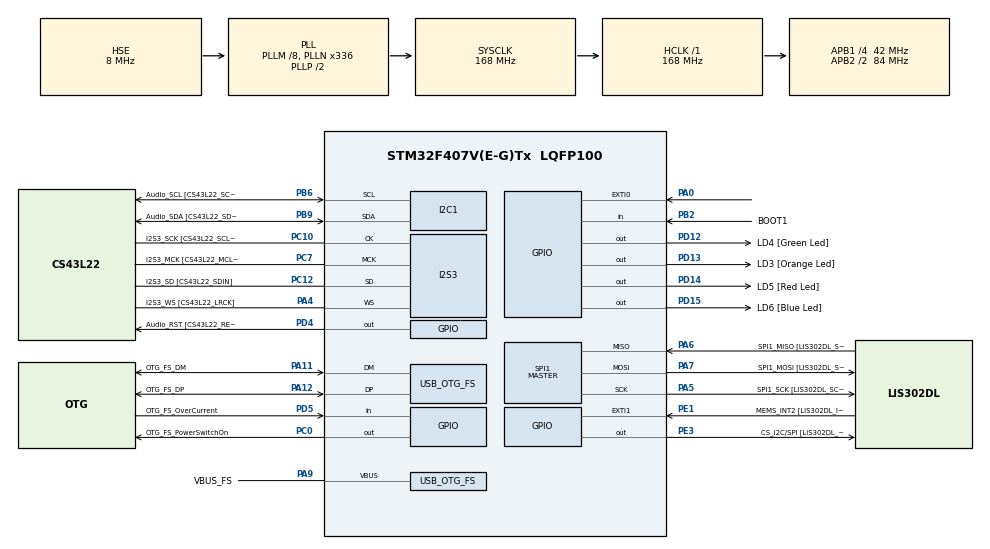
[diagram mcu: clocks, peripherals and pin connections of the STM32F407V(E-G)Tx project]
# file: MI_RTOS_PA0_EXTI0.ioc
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FREERTOS.Tasks01=defaultTask,24,128,StartDefaultTask,Default,NULL,Dynamic,NULL,NULL
FREERTOS.configUSE_NEWLIB_REENTRANT=1
I2S3.AudioFreq-Half_Duplex_Master=I2S_AUDIOFREQ_96K
I2S3.ErrorAudioFreq=-2.34 %
I2S3.ErrorAudioFreq-Half_Duplex_Master=0.8 %
I2S3.FullDuplexMode=I2S_FULLDUPLEXMODE_DISABLE
I2S3.Instance=SPI$Index
I2S3.RealAudioFreq=93.75 KHz
I2S3.RealAudioFreq-Half_Duplex_Master=96.774 KHz
I2S3.VirtualMode=I2S_MODE_MASTER
Mcu.Family=STM32F4
Mcu.Name=STM32F407V(E-G)Tx
Mcu.Package=LQFP100
NVIC.EXTI0_IRQn=true\:5\:0\:false\:false\:true\:true\:true\:true\:true
NVIC.OTG_FS_IRQn=true\:5\:0\:false\:false\:true\:true\:true\:true\:true
NVIC.PriorityGroup=NVIC_PRIORITYGROUP_4
NVIC.TIM6_DAC_IRQn=true\:15\:0\:false\:false\:true\:false\:false\:true\:true
NVIC.TimeBase=TIM6_DAC_IRQn
NVIC.TimeBaseIP=TIM6
PA0-WKUP.Signal=GPXTI0
PA10.GPIO_Label=OTG_FS_ID
PA10.GPIO_Mode=GPIO_MODE_AF_PP
PA10.GPIO_PuPd=GPIO_NOPULL
PA10.GPIO_Speed=GPIO_SPEED_FREQ_LOW
PA10.Signal=USB_OTG_FS_ID
PA11.GPIO_Label=OTG_FS_DM
PA11.GPIO_Mode=GPIO_MODE_AF_PP
PA11.GPIO_PuPd=GPIO_NOPULL
PA11.GPIO_Speed=GPIO_SPEED_FREQ_LOW
PA11.Mode=Host_Only
PA11.Signal=USB_OTG_FS_DM
PA12.GPIO_Label=OTG_FS_DP
PA12.GPIO_Mode=GPIO_MODE_AF_PP
PA12.GPIO_PuPd=GPIO_NOPULL
PA12.GPIO_Speed=GPIO_SPEED_FREQ_LOW
PA12.Mode=Host_Only
PA12.Signal=USB_OTG_FS_DP
PA13.GPIO_Label=SWDIO
PA13.Mode=Trace_Asynchronous_SW
PA13.Signal=SYS_JTMS-SWDIO
PA14.GPIO_Label=SWCLK
PA14.Mode=Trace_Asynchronous_SW
PA14.Signal=SYS_JTCK-SWCLK
PA4.GPIO_Label=I2S3_WS [CS43L22_LRCK]
PA4.GPIO_Mode=GPIO_MODE_AF_PP
PA4.GPIO_PuPd=GPIO_NOPULL
PA4.GPIO_Speed=GPIO_SPEED_FREQ_LOW
PA4.Mode=Half_Duplex_Master
PA4.Signal=I2S3_WS
PA5.GPIO_Label=SPI1_SCK [LIS302DL_SCL/SPC]
PA5.GPIO_Mode=GPIO_MODE_AF_PP
PA5.GPIO_PuPd=GPIO_NOPULL
PA5.GPIO_Speed=GPIO_SPEED_FREQ_LOW
PA5.Mode=Full_Duplex_Master
PA5.Signal=SPI1_SCK
PA6.GPIO_Label=SPI1_MISO [LIS302DL_SDO]
PA6.GPIO_Mode=GPIO_MODE_AF_PP
PA6.GPIO_PuPd=GPIO_NOPULL
PA6.GPIO_Speed=GPIO_SPEED_FREQ_LOW
PA6.Mode=Full_Duplex_Master
PA6.Signal=SPI1_MISO
PA7.GPIO_Label=SPI1_MOSI [LIS302DL_SDA/SDI/SDO]
PA7.GPIO_Mode=GPIO_MODE_AF_PP
PA7.GPIO_PuPd=GPIO_NOPULL
PA7.GPIO_Speed=GPIO_SPEED_FREQ_LOW
PA7.Mode=Full_Duplex_Master
PA7.Signal=SPI1_MOSI
PA9.GPIO_Label=VBUS_FS
PA9.GPIO_Mode=GPIO_MODE_INPUT
PA9.GPIO_PuPd=GPIO_NOPULL
PA9.Mode=Activate_VBUS
PA9.Signal=USB_OTG_FS_VBUS
PB10.GPIO_Label=CLK_IN [MP45DT02_CLK]
PB10.GPIO_Mode=GPIO_MODE_AF_PP
PB10.GPIO_PuPd=GPIO_NOPULL
PB10.GPIO_Speed=GPIO_SPEED_FREQ_LOW
PB10.Signal=I2S2_CK
PB2.GPIO_Label=BOOT1
PB2.GPIO_Mode=GPIO_MODE_INPUT
PB2.GPIO_PuPd=GPIO_NOPULL
PB2.Signal=GPIO_Input
PB3.GPIO_Label=SWO
PB3.Mode=Trace_Asynchronous_SW
PB3.Signal=SYS_JTDO-SWO
PB6.GPIO_Label=Audio_SCL [CS43L22_SCL]
PB6.GPIO_Mode=GPIO_MODE_AF_OD
PB6.GPIO_Pu=GPIO_PULLUP
PB6.GPIO_PuPd=GPIO_NOPULL
PB6.GPIO_Speed=GPIO_SPEED_FREQ_LOW
PB6.Mode=I2C
PB6.Signal=I2C1_SCL
PB9.GPIO_Label=Audio_SDA [CS43L22_SDA]
PB9.GPIO_Mode=GPIO_MODE_AF_OD
PB9.GPIO_Pu=GPIO_PULLUP
PB9.GPIO_PuPd=GPIO_NOPULL
PB9.GPIO_Speed=GPIO_SPEED_FREQ_LOW
PB9.Mode=I2C
PB9.Signal=I2C1_SDA
PC0.GPIO_Label=OTG_FS_PowerSwitchOn
PC0.GPIO_PuPd=GPIO_NOPULL
PC0.GPIO_Speed=GPIO_SPEED_FREQ_LOW
PC0.PinState=GPIO_PIN_SET
PC0.Signal=GPIO_Output
PC10.GPIO_Label=I2S3_SCK [CS43L22_SCLK]
PC10.GPIO_Mode=GPIO_MODE_AF_PP
PC10.GPIO_PuPd=GPIO_NOPULL
PC10.GPIO_Speed=GPIO_SPEED_FREQ_LOW
PC10.Mode=Half_Duplex_Master
PC10.Signal=I2S3_CK
PC12.GPIO_Label=I2S3_SD [CS43L22_SDIN]
PC12.GPIO_Mode=GPIO_MODE_AF_PP
PC12.GPIO_PuPd=GPIO_NOPULL
PC12.GPIO_Speed=GPIO_SPEED_FREQ_LOW
PC12.Mode=Half_Duplex_Master
PC12.Signal=I2S3_SD
PC14-OSC32_IN.GPIO_Label=PC14-OSC32_IN
PC14-OSC32_IN.Mode=LSE-External-Oscillator
PC14-OSC32_IN.Signal=RCC_OSC32_IN
PC15-OSC32_OUT.GPIO_Label=PC15-OSC32_OUT
PC15-OSC32_OUT.Mode=LSE-External-Oscillator
PC15-OSC32_OUT.Signal=RCC_OSC32_OUT
PC3.GPIO_Label=PDM_OUT [MP45DT02_DOUT]
PC3.GPIO_Mode=GPIO_MODE_AF_PP
PC3.GPIO_PuPd=GPIO_NOPULL
PC3.GPIO_Speed=GPIO_SPEED_FREQ_LOW
PC3.Signal=I2S2_SD
PC7.GPIO_Label=I2S3_MCK [CS43L22_MCLK]
PC7.GPIO_Mode=GPIO_MODE_AF_PP
PC7.GPIO_PuPd=GPIO_NOPULL
PC7.GPIO_Speed=GPIO_SPEED_FREQ_LOW
PC7.Mode=Master_Clock_Activated
PC7.Signal=I2S3_MCK
PD12.GPIO_Label=LD4 [Green Led]
PD12.GPIO_PuPd=GPIO_NOPULL
PD12.GPIO_Speed=GPIO_SPEED_FREQ_LOW
PD12.Signal=GPIO_Output
PD13.GPIO_Label=LD3 [Orange Led]
PD13.GPIO_PuPd=GPIO_NOPULL
PD13.GPIO_Speed=GPIO_SPEED_FREQ_LOW
PD13.Signal=GPIO_Output
PD14.GPIO_Label=LD5 [Red Led]
PD14.GPIO_PuPd=GPIO_NOPULL
PD14.GPIO_Speed=GPIO_SPEED_FREQ_LOW
PD14.Signal=GPIO_Output
PD15.GPIO_Label=LD6 [Blue Led]
PD15.GPIO_PuPd=GPIO_NOPULL
PD15.GPIO_Speed=GPIO_SPEED_FREQ_LOW
PD15.Signal=GPIO_Output
PD4.GPIO_Label=Audio_RST [CS43L22_RESET]
PD4.GPIO_PuPd=GPIO_NOPULL
PD4.GPIO_Speed=GPIO_SPEED_FREQ_LOW
PD4.Signal=GPIO_Output
PD5.GPIO_Label=OTG_FS_OverCurrent
PD5.GPIO_Mode=GPIO_MODE_INPUT
PD5.GPIO_PuPd=GPIO_NOPULL
PD5.Signal=GPIO_Input
PE1.GPIO_Label=MEMS_INT2 [LIS302DL_INT2]
PE1.GPIO_ModeDefaultEXTI=GPIO_MODE_EVT_RISING
PE1.GPIO_PuPd=GPIO_NOPULL
PE1.Signal=GPXTI1
PE3.GPIO_Label=CS_I2C/SPI [LIS302DL_CS_I2C/SPI]
PE3.GPIO_PuPd=GPIO_NOPULL
PE3.GPIO_Speed=GPIO_SPEED_FREQ_LOW
PE3.Signal=GPIO_Output
PH0-OSC_IN.GPIO_Label=PH0-OSC_IN
PH0-OSC_IN.Mode=HSE-External-Oscillator
PH0-OSC_IN.Signal=RCC_OSC_IN
PH1-OSC_OUT.GPIO_Label=PH1-OSC_OUT
PH1-OSC_OUT.Mode=HSE-External-Oscillator
PH1-OSC_OUT.Signal=RCC_OSC_OUT
ProjectManager.HeapSize=0x200
ProjectManager.StackSize=0x400
ProjectManager.TargetToolchain=STM32CubeIDE
RCC.48MHZClocksFreq_Value=48000000
RCC.AHBFreq_Value=168000000
RCC.APB1CLKDivider=RCC_HCLK_DIV4
RCC.APB1Freq_Value=42000000
RCC.APB1TimFreq_Value=84000000
RCC.APB2CLKDivider=RCC_HCLK_DIV2
RCC.APB2Freq_Value=84000000
RCC.APB2TimFreq_Value=168000000
RCC.CortexFreq_Value=168000000
RCC.HCLKFreq_Value=168000000
RCC.HSE_VALUE=8000000
RCC.HSI_VALUE=16000000
RCC.PLLM=8
RCC.PLLN=336
RCC.PLLQ=7
RCC.SYSCLKFreq_VALUE=168000000
RCC.SYSCLKSource=RCC_SYSCLKSOURCE_PLLCLK
RCC.VCOOutputFreq_Value=336000000
SPI1.BaudRatePrescaler-Full_Duplex_Master=SPI_BAUDRATEPRESCALER_2
SPI1.CalculateBaudRate-Full_Duplex_Master=42.0 MBits/s
SPI1.Direction=SPI_DIRECTION_2LINES
SPI1.Mode=SPI_MODE_MASTER
SPI1.Mode-Full_Duplex_Master=SPI_MODE_MASTER
SPI1.VirtualType=VM_MASTER
USB_HOST.BSP.number=1
USB_HOST.USBH_HandleTypeDef-CDC_FS=hUsbHostFS
USB_HOST.VirtualModeFS=Cdc
USB_HOST0.BSP.STBoard=false
USB_HOST0.BSP.api=Unknown
USB_HOST0.BSP.i2caddr=0
USB_HOST0.BSP.i2creg=0
USB_HOST0.BSP.instance=PC0
USB_HOST0.BSP.ip=GPIO
USB_HOST0.BSP.mode=Output
USB_HOST0.BSP.name=Drive_VBUS_FS
USB_HOST0.BSP.solution=PC0
USB_OTG_FS.VirtualMode=Host_Only
USB_OTG_FS.phy_itface=HCD_PHY_EMBEDDED
VP_FREERTOS_VS_CMSIS_V2.Mode=CMSIS_V2
VP_SYS_VS_tim6.Mode=TIM6
VP_USB_HOST_VS_USB_HOST_CDC_FS.Mode=CDC_FS
board=STM32F407G-DISC1

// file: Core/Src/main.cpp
/* USER CODE BEGIN Header */
/**
  ******************************************************************************
  * @file           : main.c
  * @brief          : Main program body
  ******************************************************************************
  * @attention
  *
  * Copyright (c) 2026 STMicroelectronics.
  * All rights reserved.
  *
  * This software is licensed under terms that can be found in the LICENSE file
  * in the root directory of this software component.
  * If no LICENSE file comes with this software, it is provided AS-IS.
  *
  ******************************************************************************
  */
/* USER CODE END Header */
#include "main.h"
#include "cmsis_os.h"
#include "usb_host.h"

 I2C_HandleTypeDef hi2c1;

I2S_HandleTypeDef hi2s3;

SPI_HandleTypeDef hspi1;

/* Definitions for defaultTask */
osThreadId_t defaultTaskHandle;
const osThreadAttr_t defaultTask_attributes = {
  .name = "defaultTask",
  .stack_size = 128 * 4,
  .priority = (osPriority_t) osPriorityNormal,
};

void SystemClock_Config(void);
static void MX_GPIO_Init(void);
static void MX_I2C1_Init(void);
static void MX_I2S3_Init(void);
static void MX_SPI1_Init(void);
void StartDefaultTask(void *argument);

/* USER CODE BEGIN PFP */
static void led_green_handler(void* parameters);
static void button_task(void* parameters);

/* USER CODE END PFP */

/* USER CODE BEGIN 0 */
//Task Handlers
TaskHandle_t task1_handle= NULL;
TaskHandle_t task2_handle= NULL;
TaskHandle_t task3_handle= NULL;
TaskHandle_t button_task_handle=NULL;
BaseType_t status;
/* USER CODE END 0 */

int main(void)
{

  /* MCU Configuration--------------------------------------------------------*/

  /* Reset of all peripherals, Initializes the Flash interface and the Systick. */
  HAL_Init();

  /* Configure the system clock */
  SystemClock_Config();

  /* Initialize all configured peripherals */
  MX_GPIO_Init();
  MX_I2C1_Init();
  MX_I2S3_Init();
  MX_SPI1_Init();
  /* USER CODE BEGIN 2 */
  status = xTaskCreate(led_green_handler, "LED_green_task", 200, NULL, 2, &task1_handle);
  configASSERT(status == pdPASS);
  status = xTaskCreate(button_task, "BUTTON", 200, NULL, 3, &button_task_handle);
  configASSERT(status == pdPASS);

  /* USER CODE END 2 */

  /* Init scheduler */
  osKernelInitialize();

  /* Create the thread(s) */
  /* creation of defaultTask */
  defaultTaskHandle = osThreadNew(StartDefaultTask, NULL, &defaultTask_attributes);

  /* Start scheduler */
  osKernelStart();

  /* We should never get here as control is now taken by the scheduler */
  /* Infinite loop */
  while (1)
  {

  }
}

void SystemClock_Config(void)
{
  RCC_OscInitTypeDef RCC_OscInitStruct = {0};
  RCC_ClkInitTypeDef RCC_ClkInitStruct = {0};

  /** Configure the main internal regulator output voltage
  */
  __HAL_RCC_PWR_CLK_ENABLE();
  __HAL_PWR_VOLTAGESCALING_CONFIG(PWR_REGULATOR_VOLTAGE_SCALE1);

  /** Initializes the RCC Oscillators according to the specified parameters
  * in the RCC_OscInitTypeDef structure.
  */
  RCC_OscInitStruct.OscillatorType = RCC_OSCILLATORTYPE_HSE;
  RCC_OscInitStruct.HSEState = RCC_HSE_ON;
  RCC_OscInitStruct.PLL.PLLState = RCC_PLL_ON;
  RCC_OscInitStruct.PLL.PLLSource = RCC_PLLSOURCE_HSE;
  RCC_OscInitStruct.PLL.PLLM = 8;
  RCC_OscInitStruct.PLL.PLLN = 336;
  RCC_OscInitStruct.PLL.PLLP = RCC_PLLP_DIV2;
  RCC_OscInitStruct.PLL.PLLQ = 7;
  if (HAL_RCC_OscConfig(&RCC_OscInitStruct) != HAL_OK)
  {
    Error_Handler();
  }

  /** Initializes the CPU, AHB and APB buses clocks
  */
  RCC_ClkInitStruct.ClockType = RCC_CLOCKTYPE_HCLK|RCC_CLOCKTYPE_SYSCLK
                              |RCC_CLOCKTYPE_PCLK1|RCC_CLOCKTYPE_PCLK2;
  RCC_ClkInitStruct.SYSCLKSource = RCC_SYSCLKSOURCE_PLLCLK;
  RCC_ClkInitStruct.AHBCLKDivider = RCC_SYSCLK_DIV1;
  RCC_ClkInitStruct.APB1CLKDivider = RCC_HCLK_DIV4;
  RCC_ClkInitStruct.APB2CLKDivider = RCC_HCLK_DIV2;

  if (HAL_RCC_ClockConfig(&RCC_ClkInitStruct, FLASH_LATENCY_5) != HAL_OK)
  {
    Error_Handler();
  }
}

static void MX_I2C1_Init(void)
{

  hi2c1.Instance = I2C1;
  hi2c1.Init.ClockSpeed = 100000;
  hi2c1.Init.DutyCycle = I2C_DUTYCYCLE_2;
  hi2c1.Init.OwnAddress1 = 0;
  hi2c1.Init.AddressingMode = I2C_ADDRESSINGMODE_7BIT;
  hi2c1.Init.DualAddressMode = I2C_DUALADDRESS_DISABLE;
  hi2c1.Init.OwnAddress2 = 0;
  hi2c1.Init.GeneralCallMode = I2C_GENERALCALL_DISABLE;
  hi2c1.Init.NoStretchMode = I2C_NOSTRETCH_DISABLE;
  if (HAL_I2C_Init(&hi2c1) != HAL_OK)
  {
    Error_Handler();
  }

}

static void MX_I2S3_Init(void)
{

  hi2s3.Instance = SPI3;
  hi2s3.Init.Mode = I2S_MODE_MASTER_TX;
  hi2s3.Init.Standard = I2S_STANDARD_PHILIPS;
  hi2s3.Init.DataFormat = I2S_DATAFORMAT_16B;
  hi2s3.Init.MCLKOutput = I2S_MCLKOUTPUT_ENABLE;
  hi2s3.Init.AudioFreq = I2S_AUDIOFREQ_96K;
  hi2s3.Init.CPOL = I2S_CPOL_LOW;
  hi2s3.Init.ClockSource = I2S_CLOCK_PLL;
  hi2s3.Init.FullDuplexMode = I2S_FULLDUPLEXMODE_DISABLE;
  if (HAL_I2S_Init(&hi2s3) != HAL_OK)
  {
    Error_Handler();
  }

}

static void MX_SPI1_Init(void)
{

  /* SPI1 parameter configuration*/
  hspi1.Instance = SPI1;
  hspi1.Init.Mode = SPI_MODE_MASTER;
  hspi1.Init.Direction = SPI_DIRECTION_2LINES;
  hspi1.Init.DataSize = SPI_DATASIZE_8BIT;
  hspi1.Init.CLKPolarity = SPI_POLARITY_LOW;
  hspi1.Init.CLKPhase = SPI_PHASE_1EDGE;
  hspi1.Init.NSS = SPI_NSS_SOFT;
  hspi1.Init.BaudRatePrescaler = SPI_BAUDRATEPRESCALER_2;
  hspi1.Init.FirstBit = SPI_FIRSTBIT_MSB;
  hspi1.Init.TIMode = SPI_TIMODE_DISABLE;
  hspi1.Init.CRCCalculation = SPI_CRCCALCULATION_DISABLE;
  hspi1.Init.CRCPolynomial = 10;
  if (HAL_SPI_Init(&hspi1) != HAL_OK)
  {
    Error_Handler();
  }

}

static void MX_GPIO_Init(void)
{
  GPIO_InitTypeDef GPIO_InitStruct = {0};

  /* GPIO Ports Clock Enable */
  __HAL_RCC_GPIOE_CLK_ENABLE();
  __HAL_RCC_GPIOC_CLK_ENABLE();
  __HAL_RCC_GPIOH_CLK_ENABLE();
  __HAL_RCC_GPIOA_CLK_ENABLE();
  __HAL_RCC_GPIOB_CLK_ENABLE();
  __HAL_RCC_GPIOD_CLK_ENABLE();

  /*Configure GPIO pin Output Level */
  HAL_GPIO_WritePin(CS_I2C_SPI_GPIO_Port, CS_I2C_SPI_Pin, GPIO_PIN_RESET);

  /*Configure GPIO pin Output Level */
  HAL_GPIO_WritePin(OTG_FS_PowerSwitchOn_GPIO_Port, OTG_FS_PowerSwitchOn_Pin, GPIO_PIN_SET);

  /*Configure GPIO pin Output Level */
  HAL_GPIO_WritePin(GPIOD, LD4_Pin|LD3_Pin|LD5_Pin|LD6_Pin
                          |Audio_RST_Pin, GPIO_PIN_RESET);

  /*Configure GPIO pin : CS_I2C_SPI_Pin */
  GPIO_InitStruct.Pin = CS_I2C_SPI_Pin;
  GPIO_InitStruct.Mode = GPIO_MODE_OUTPUT_PP;
  GPIO_InitStruct.Pull = GPIO_NOPULL;
  GPIO_InitStruct.Speed = GPIO_SPEED_FREQ_LOW;
  HAL_GPIO_Init(CS_I2C_SPI_GPIO_Port, &GPIO_InitStruct);

  /*Configure GPIO pin : OTG_FS_PowerSwitchOn_Pin */
  GPIO_InitStruct.Pin = OTG_FS_PowerSwitchOn_Pin;
  GPIO_InitStruct.Mode = GPIO_MODE_OUTPUT_PP;
  GPIO_InitStruct.Pull = GPIO_NOPULL;
  GPIO_InitStruct.Speed = GPIO_SPEED_FREQ_LOW;
  HAL_GPIO_Init(OTG_FS_PowerSwitchOn_GPIO_Port, &GPIO_InitStruct);

  /*Configure GPIO pin : PDM_OUT_Pin */
  GPIO_InitStruct.Pin = PDM_OUT_Pin;
  GPIO_InitStruct.Mode = GPIO_MODE_AF_PP;
  GPIO_InitStruct.Pull = GPIO_NOPULL;
  GPIO_InitStruct.Speed = GPIO_SPEED_FREQ_LOW;
  GPIO_InitStruct.Alternate = GPIO_AF5_SPI2;
  HAL_GPIO_Init(PDM_OUT_GPIO_Port, &GPIO_InitStruct);

  /*Configure GPIO pin : PA0 */
  GPIO_InitStruct.Pin = GPIO_PIN_0;
  GPIO_InitStruct.Mode = GPIO_MODE_IT_RISING;
  GPIO_InitStruct.Pull = GPIO_NOPULL;
  HAL_GPIO_Init(GPIOA, &GPIO_InitStruct);

  /*Configure GPIO pin : BOOT1_Pin */
  GPIO_InitStruct.Pin = BOOT1_Pin;
  GPIO_InitStruct.Mode = GPIO_MODE_INPUT;
  GPIO_InitStruct.Pull = GPIO_NOPULL;
  HAL_GPIO_Init(BOOT1_GPIO_Port, &GPIO_InitStruct);

  /*Configure GPIO pin : CLK_IN_Pin */
  GPIO_InitStruct.Pin = CLK_IN_Pin;
  GPIO_InitStruct.Mode = GPIO_MODE_AF_PP;
  GPIO_InitStruct.Pull = GPIO_NOPULL;
  GPIO_InitStruct.Speed = GPIO_SPEED_FREQ_LOW;
  GPIO_InitStruct.Alternate = GPIO_AF5_SPI2;
  HAL_GPIO_Init(CLK_IN_GPIO_Port, &GPIO_InitStruct);

  /*Configure GPIO pins : LD4_Pin LD3_Pin LD5_Pin LD6_Pin
                           Audio_RST_Pin */
  GPIO_InitStruct.Pin = LD4_Pin|LD3_Pin|LD5_Pin|LD6_Pin
                          |Audio_RST_Pin;
  GPIO_InitStruct.Mode = GPIO_MODE_OUTPUT_PP;
  GPIO_InitStruct.Pull = GPIO_NOPULL;
  GPIO_InitStruct.Speed = GPIO_SPEED_FREQ_LOW;
  HAL_GPIO_Init(GPIOD, &GPIO_InitStruct);

  /*Configure GPIO pin : OTG_FS_OverCurrent_Pin */
  GPIO_InitStruct.Pin = OTG_FS_OverCurrent_Pin;
  GPIO_InitStruct.Mode = GPIO_MODE_INPUT;
  GPIO_InitStruct.Pull = GPIO_NOPULL;
  HAL_GPIO_Init(OTG_FS_OverCurrent_GPIO_Port, &GPIO_InitStruct);

  /*Configure GPIO pin : MEMS_INT2_Pin */
  GPIO_InitStruct.Pin = MEMS_INT2_Pin;
  GPIO_InitStruct.Mode = GPIO_MODE_EVT_RISING;
  GPIO_InitStruct.Pull = GPIO_NOPULL;
  HAL_GPIO_Init(MEMS_INT2_GPIO_Port, &GPIO_InitStruct);

  /* EXTI interrupt init*/
  HAL_NVIC_SetPriority(EXTI0_IRQn, 5, 0);
  HAL_NVIC_EnableIRQ(EXTI0_IRQn);

}

/* USER CODE BEGIN 4 */
/*static void button_task(void *params)
{
    while(1)
    {
        /* Wait for button press */
      //  ulTaskNotifyTake(pdTRUE, portMAX_DELAY);

        /* Turn ON Green LED */
//        HAL_GPIO_WritePin(GPIOD, GPIO_PIN_15, GPIO_PIN_SET);
//    }
//}
static void button_task(void *params)
{
    static uint8_t led_state = 0;

    while(1)
    {
        /* Wait for button press */
        ulTaskNotifyTake(pdTRUE, portMAX_DELAY);//Block indefinitely Until notification arrives
/*Waiting for a notification (like a signal)
Usually from ISR or another task */
        /* Simple debounce */
        vTaskDelay(pdMS_TO_TICKS(100));

        /* Toggle LED */
        led_state = !led_state;

        HAL_GPIO_WritePin(GPIOD, GPIO_PIN_15,
                          led_state ? GPIO_PIN_SET : GPIO_PIN_RESET);
    }
}
static void led_green_handler(void* parameters)
{
	while(1)
	{

		//red_count++;
		HAL_GPIO_WritePin(GPIOD,GPIO_PIN_12,GPIO_PIN_SET);
		vTaskDelay(pdMS_TO_TICKS(100));
		HAL_GPIO_WritePin(GPIOD,GPIO_PIN_12,GPIO_PIN_RESET);
		vTaskDelay(pdMS_TO_TICKS(100));
	}

}
// HAL_GPIO_EXTI_IRQHandler(GPIO_PIN_0); // EXTI0
extern "C" void HAL_GPIO_EXTI_Callback(uint16_t GPIO_Pin)
{
    BaseType_t xHigherPriorityTaskWoken = pdFALSE;

    if(GPIO_Pin == GPIO_PIN_0)
    {
        vTaskNotifyGiveFromISR(button_task_handle, &xHigherPriorityTaskWoken);
        /* Force a context switch if xHigherPriorityTaskWoken is now set to pdTRUE.
              The macro used to do this is dependent on the port and may be called
              portEND_SWITCHING_ISR. */
        portYIELD_FROM_ISR(xHigherPriorityTaskWoken);
    }

}
/* Button Press (PA0)
        ↓
EXTI0_IRQHandler()        ← stm32f4xx_it.c
        ↓
HAL_GPIO_EXTI_IRQHandler()
        ↓
HAL_GPIO_EXTI_Callback()  ← WRITE HERE main.cpp
        ↓
Notify FreeRTOS Task
        ↓
button_task executes */
/* USER CODE END 4 */

void StartDefaultTask(void *argument)
{
  /* init code for USB_HOST */
  MX_USB_HOST_Init();
  for(;;)
  {
    osDelay(1);
  }
}

void HAL_TIM_PeriodElapsedCallback(TIM_HandleTypeDef *htim)
{
  if (htim->Instance == TIM6) {
    HAL_IncTick();
  }
}

void Error_Handler(void)
{
  __disable_irq();
  while (1)
  {
  }
}
